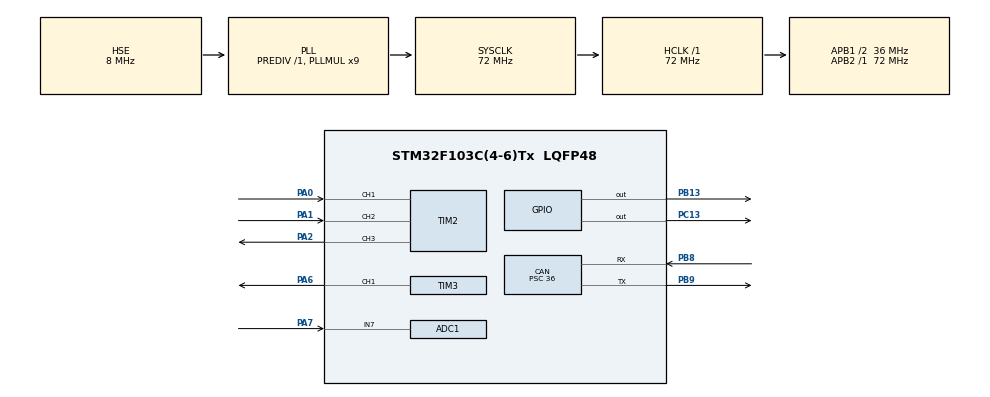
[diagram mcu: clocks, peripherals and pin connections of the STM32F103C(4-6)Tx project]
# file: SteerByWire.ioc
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ADC1.Channel-0\#ChannelRegularConversion=ADC_CHANNEL_7
ADC1.NbrOfConversionFlag=1
ADC1.Rank-0\#ChannelRegularConversion=1
ADC1.SamplingTime-0\#ChannelRegularConversion=ADC_SAMPLETIME_1CYCLE_5
ADC1.master=1
CAN.BS1=CAN_BS1_2TQ
CAN.BS2=CAN_BS2_1TQ
CAN.CalculateBaudRate=250000
CAN.CalculateTimeBit=4000
CAN.CalculateTimeQuantum=1000.0
CAN.Mode=CAN_MODE_NORMAL
CAN.Prescaler=36
Mcu.Family=STM32F1
Mcu.Name=STM32F103C(4-6)Tx
Mcu.Package=LQFP48
NVIC.CAN1_RX1_IRQn=true\:0\:0\:false\:false\:true\:true\:true\:true
NVIC.PriorityGroup=NVIC_PRIORITYGROUP_4
NVIC.USB_LP_CAN1_RX0_IRQn=true\:0\:0\:false\:false\:true\:true\:true\:true
PA0-WKUP.Signal=S_TIM2_CH1_ETR
PA1.Signal=S_TIM2_CH2
PA13.Mode=Serial_Wire
PA13.Signal=SYS_JTMS-SWDIO
PA14.Mode=Serial_Wire
PA14.Signal=SYS_JTCK-SWCLK
PA2.Signal=S_TIM2_CH3
PA6.Signal=S_TIM3_CH1
PA7.Signal=ADCx_IN7
PB13.Signal=GPIO_Output
PB8.GPIO_PuPd=GPIO_NOPULL
PB8.Mode=CAN_Activate
PB8.Signal=CAN_RX
PB9.Mode=CAN_Activate
PB9.Signal=CAN_TX
PC13-TAMPER-RTC.GPIO_ModeDefaultOutputPP=GPIO_MODE_OUTPUT_PP
PC13-TAMPER-RTC.GPIO_PuPd=GPIO_PULLUP
PC13-TAMPER-RTC.GPIO_Speed=GPIO_SPEED_FREQ_MEDIUM
PC13-TAMPER-RTC.PinState=GPIO_PIN_SET
PC13-TAMPER-RTC.Signal=GPIO_Output
PD0-OSC_IN.Mode=HSE-External-Oscillator
PD0-OSC_IN.Signal=RCC_OSC_IN
PD1-OSC_OUT.Mode=HSE-External-Oscillator
PD1-OSC_OUT.Signal=RCC_OSC_OUT
ProjectManager.HeapSize=0x200
ProjectManager.StackSize=0x400
ProjectManager.TargetToolchain=STM32CubeIDE
RCC.ADCPresc=RCC_ADCPCLK2_DIV6
RCC.AHBFreq_Value=72000000
RCC.APB1CLKDivider=RCC_HCLK_DIV2
RCC.APB1Freq_Value=36000000
RCC.APB1TimFreq_Value=72000000
RCC.APB2Freq_Value=72000000
RCC.APB2TimFreq_Value=72000000
RCC.HCLKFreq_Value=72000000
RCC.PLLMUL=RCC_PLL_MUL9
RCC.PLLSourceVirtual=RCC_PLLSOURCE_HSE
RCC.SYSCLKFreq_VALUE=72000000
RCC.SYSCLKSource=RCC_SYSCLKSOURCE_PLLCLK
RCC.USBFreq_Value=72000000
SH.ADCx_IN7.0=ADC1_IN7,IN7
SH.S_TIM2_CH1_ETR.0=TIM2_CH1,Encoder_Interface
SH.S_TIM2_CH2.0=TIM2_CH2,Encoder_Interface
SH.S_TIM2_CH3.0=TIM2_CH3,PWM Generation3 CH3
SH.S_TIM3_CH1.0=TIM3_CH1,PWM Generation1 CH1
TIM2.Channel-PWM\ Generation3\ CH3=TIM_CHANNEL_3
TIM2.EncoderMode=TIM_ENCODERMODE_TI12
TIM3.Channel-PWM\ Generation1\ CH1=TIM_CHANNEL_1
board=custom

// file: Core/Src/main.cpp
/* USER CODE BEGIN Header */
/**
  ******************************************************************************
  * @file           : main.c
  * @brief          : Main program body
  ******************************************************************************
  * @attention
  *
  * Copyright (c) 2025 STMicroelectronics.
  * All rights reserved.
  *
  * This software is licensed under terms that can be found in the LICENSE file
  * in the root directory of this software component.
  * If no LICENSE file comes with this software, it is provided AS-IS.
  *
  ******************************************************************************
  */
/* USER CODE END Header */
#include <main.hpp>
#include "CAN_Bus.hpp"
#include "encoder.hpp"
#include "motorControl.hpp"
#include "CurrentSensor.hpp"
/* USER CODE END Includes */

ADC_HandleTypeDef hadc1;

CAN_HandleTypeDef hcan;

TIM_HandleTypeDef htim2;
TIM_HandleTypeDef htim3;

/* USER CODE BEGIN PV */
CANBus globalCanBus;
float motorCurrent;

CAN_RxHeaderTypeDef RxHeader;  // CAN transmit header
uint8_t RxData[8];
uint32_t can_id;
int received_value;
uint32_t received_value2;

typedef struct {
    uint8_t error_warning_flag;
    uint8_t error_passive_flag;
    uint8_t bus_off_flag;
    uint8_t stuff_error;
    uint8_t form_error;
    uint8_t acknowledgment_error;
    uint8_t bit_recessive_error;
    uint8_t bit_dominant_error;
    uint8_t crc_error;
} CAN_ErrorFlags;
/* USER CODE END PV */

void SystemClock_Config(void);
static void MX_GPIO_Init(void);
static void MX_CAN_Init(void);
static void MX_TIM2_Init(void);
static void MX_ADC1_Init(void);
static void MX_TIM3_Init(void);

/* USER CODE BEGIN 0 */

//This method is used to receive CAN-bus data and store said data in a variable based on the CAN ID of the received message
void HAL_CAN_RxFifo0MsgPendingCallback(CAN_HandleTypeDef *hcan){
	HAL_CAN_GetRxMessage(hcan, CAN_RX_FIFO0, &RxHeader, RxData);
	if (RxHeader.StdId == 446) {
		received_value = globalCanBus.dataMerger(RxData);
		HAL_GPIO_TogglePin(GPIOC, GPIO_PIN_13);
	}
	else if(RxHeader.StdId == 300) {
		received_value2 = globalCanBus.dataMerger(RxData);
	}
	else{
		Error_Handler();
	}

}

//This method can be used to check for and read out CAN bus errors.
void check_CAN_errors(CAN_HandleTypeDef *hcan, CAN_ErrorFlags *error_flags) {
    uint32_t error = HAL_CAN_GetError(hcan);

    // Reset all error flags
    error_flags->error_warning_flag = 0;
    error_flags->error_passive_flag = 0;
    error_flags->bus_off_flag = 0;
    error_flags->stuff_error = 0;
    error_flags->form_error = 0;
    error_flags->acknowledgment_error = 0;
    error_flags->bit_recessive_error = 0;
    error_flags->bit_dominant_error = 0;
    error_flags->crc_error = 0;

    if (error != HAL_CAN_ERROR_NONE) {
        if (error & HAL_CAN_ERROR_EWG) {
            error_flags->error_warning_flag = 1;
        }
        if (error & HAL_CAN_ERROR_EPV) {
            error_flags->error_passive_flag = 1;
        }
        if (error & HAL_CAN_ERROR_BOF) {
            error_flags->bus_off_flag = 1;
        }
        if (error & HAL_CAN_ERROR_STF) {
            error_flags->stuff_error = 1;
        }
        if (error & HAL_CAN_ERROR_FOR) {
            error_flags->form_error = 1;
        }
        if (error & HAL_CAN_ERROR_ACK) {
            error_flags->acknowledgment_error = 1;
        }
        if (error & HAL_CAN_ERROR_BR) {
            error_flags->bit_recessive_error = 1;
        }
        if (error & HAL_CAN_ERROR_BD) {
            error_flags->bit_dominant_error = 1;
        }
        if (error & HAL_CAN_ERROR_CRC) {
            error_flags->crc_error = 1;
        }
    }
}
/* USER CODE END 0 */

int main(void)
{

  /* MCU Configuration--------------------------------------------------------*/

  /* Reset of all peripherals, Initializes the Flash interface and the Systick. */
  HAL_Init();

  /* Configure the system clock */
  SystemClock_Config();

  /* Initialize all configured peripherals */
  MX_GPIO_Init();
  MX_CAN_Init();
  MX_TIM2_Init();
  MX_ADC1_Init();
  MX_TIM3_Init();
  /* USER CODE BEGIN 2 */
  HAL_TIM_Encoder_Start(&htim2, TIM_CHANNEL_ALL);

  //The following values are used for the Current sensor
  float offset = 1.65f; // Voltage at 0 Amps
  float vRef = 3.3f; // Voltage of microcontroller
  float sensitivity = 0.185f;// mV between Amps

  //Initialization of all the classes used.
  CurrentSensor currentSensor(&hadc1, vRef, sensitivity, offset);
  CAN_ErrorFlags error_flags;
  MotorControl motorControl(&htim3, TIM_CHANNEL_1);
  Encoder encoder(&motorControl, &currentSensor, &htim2, &htim2, 65535, 1000);
  //Temporary variables for development and testing ------------------------------*/
  uint8_t canAngle[8];
  uint8_t desiredAngle[8];
  uint32_t counter2 = 9999999;
  //---------------------------------------------------------------------------*/
  globalCanBus.start(&hcan, CAN_ID_STD);
  motorControl.start();

  encoder.calibrateEncoder(&htim2, 1.0f);

    //  canBus.error(&hcan, 2047);
    //  canBus.error(&hcan, 0x38b);
  /* USER CODE END 2 */

  /* Infinite loop */
  /* USER CODE BEGIN WHILE */
  while (1)
  {
	  uint32_t currentCount = encoder.readEncoder(&htim2); //Reads out encoder postition. Swap this function with encoder.encoderCompare to use 2 encoders.
	  int16_t currentAngle = encoder.calculateAngle(currentCount); //Translates raw position to usable angle
	  motorControl.steerToAngle(currentAngle, 0); //Steers to the target angle currently set at 0.

	  globalCanBus.dataSplitter(currentAngle, canAngle); //Used to split data into byte lists for the CANbus messages
	  globalCanBus.dataSplitter(counter2, desiredAngle);

	  globalCanBus.transmit(&hcan, canAngle, 446); //transmits data over the CANbus lines
	  globalCanBus.transmit(&hcan, desiredAngle, 300);
	  HAL_Delay(100);
    /* USER CODE END WHILE */

  }
}

void SystemClock_Config(void)
{
  RCC_OscInitTypeDef RCC_OscInitStruct = {0};
  RCC_ClkInitTypeDef RCC_ClkInitStruct = {0};
  RCC_PeriphCLKInitTypeDef PeriphClkInit = {0};

  /** Initializes the RCC Oscillators according to the specified parameters
  * in the RCC_OscInitTypeDef structure.
  */
  RCC_OscInitStruct.OscillatorType = RCC_OSCILLATORTYPE_HSE;
  RCC_OscInitStruct.HSEState = RCC_HSE_ON;
  RCC_OscInitStruct.HSEPredivValue = RCC_HSE_PREDIV_DIV1;
  RCC_OscInitStruct.HSIState = RCC_HSI_ON;
  RCC_OscInitStruct.PLL.PLLState = RCC_PLL_ON;
  RCC_OscInitStruct.PLL.PLLSource = RCC_PLLSOURCE_HSE;
  RCC_OscInitStruct.PLL.PLLMUL = RCC_PLL_MUL9;
  if (HAL_RCC_OscConfig(&RCC_OscInitStruct) != HAL_OK)
  {
    Error_Handler();
  }

  /** Initializes the CPU, AHB and APB buses clocks
  */
  RCC_ClkInitStruct.ClockType = RCC_CLOCKTYPE_HCLK|RCC_CLOCKTYPE_SYSCLK
                              |RCC_CLOCKTYPE_PCLK1|RCC_CLOCKTYPE_PCLK2;
  RCC_ClkInitStruct.SYSCLKSource = RCC_SYSCLKSOURCE_PLLCLK;
  RCC_ClkInitStruct.AHBCLKDivider = RCC_SYSCLK_DIV1;
  RCC_ClkInitStruct.APB1CLKDivider = RCC_HCLK_DIV2;
  RCC_ClkInitStruct.APB2CLKDivider = RCC_HCLK_DIV1;

  if (HAL_RCC_ClockConfig(&RCC_ClkInitStruct, FLASH_LATENCY_2) != HAL_OK)
  {
    Error_Handler();
  }
  PeriphClkInit.PeriphClockSelection = RCC_PERIPHCLK_ADC;
  PeriphClkInit.AdcClockSelection = RCC_ADCPCLK2_DIV6;
  if (HAL_RCCEx_PeriphCLKConfig(&PeriphClkInit) != HAL_OK)
  {
    Error_Handler();
  }
}

static void MX_ADC1_Init(void)
{

  ADC_ChannelConfTypeDef sConfig = {0};

  /** Common config
  */
  hadc1.Instance = ADC1;
  hadc1.Init.ScanConvMode = ADC_SCAN_DISABLE;
  hadc1.Init.ContinuousConvMode = ENABLE;
  hadc1.Init.DiscontinuousConvMode = DISABLE;
  hadc1.Init.ExternalTrigConv = ADC_SOFTWARE_START;
  hadc1.Init.DataAlign = ADC_DATAALIGN_RIGHT;
  hadc1.Init.NbrOfConversion = 1;
  if (HAL_ADC_Init(&hadc1) != HAL_OK)
  {
    Error_Handler();
  }

  /** Configure Regular Channel
  */
  sConfig.Channel = ADC_CHANNEL_7;
  sConfig.Rank = ADC_REGULAR_RANK_1;
  sConfig.SamplingTime = ADC_SAMPLETIME_1CYCLE_5;
  if (HAL_ADC_ConfigChannel(&hadc1, &sConfig) != HAL_OK)
  {
    Error_Handler();
  }

}

static void MX_CAN_Init(void)
{

  hcan.Instance = CAN1;
  hcan.Init.Prescaler = 36;
  hcan.Init.Mode = CAN_MODE_LOOPBACK;
  hcan.Init.SyncJumpWidth = CAN_SJW_1TQ;
  hcan.Init.TimeSeg1 = CAN_BS1_2TQ;
  hcan.Init.TimeSeg2 = CAN_BS2_1TQ;
  hcan.Init.TimeTriggeredMode = DISABLE;
  hcan.Init.AutoBusOff = DISABLE;
  hcan.Init.AutoWakeUp = DISABLE;
  hcan.Init.AutoRetransmission = DISABLE;
  hcan.Init.ReceiveFifoLocked = DISABLE;
  hcan.Init.TransmitFifoPriority = DISABLE;
  if (HAL_CAN_Init(&hcan) != HAL_OK)
  {
    Error_Handler();
  }
  /* USER CODE BEGIN CAN_Init 2 */
  globalCanBus.configureFilter(&hcan, 0b00100010000, 0b00110110000, 10, 0);

  /* USER CODE END CAN_Init 2 */

}

static void MX_TIM2_Init(void)
{

  TIM_Encoder_InitTypeDef sConfig = {0};
  TIM_MasterConfigTypeDef sMasterConfig = {0};
  TIM_OC_InitTypeDef sConfigOC = {0};

  htim2.Instance = TIM2;
  htim2.Init.Prescaler = 0;
  htim2.Init.CounterMode = TIM_COUNTERMODE_UP;
  htim2.Init.Period = 65535;
  htim2.Init.ClockDivision = TIM_CLOCKDIVISION_DIV1;
  htim2.Init.AutoReloadPreload = TIM_AUTORELOAD_PRELOAD_DISABLE;
  if (HAL_TIM_PWM_Init(&htim2) != HAL_OK)
  {
    Error_Handler();
  }
  sConfig.EncoderMode = TIM_ENCODERMODE_TI12;
  sConfig.IC1Polarity = TIM_ICPOLARITY_RISING;
  sConfig.IC1Selection = TIM_ICSELECTION_DIRECTTI;
  sConfig.IC1Prescaler = TIM_ICPSC_DIV1;
  sConfig.IC1Filter = 0;
  sConfig.IC2Polarity = TIM_ICPOLARITY_RISING;
  sConfig.IC2Selection = TIM_ICSELECTION_DIRECTTI;
  sConfig.IC2Prescaler = TIM_ICPSC_DIV1;
  sConfig.IC2Filter = 0;
  if (HAL_TIM_Encoder_Init(&htim2, &sConfig) != HAL_OK)
  {
    Error_Handler();
  }
  sMasterConfig.MasterOutputTrigger = TIM_TRGO_RESET;
  sMasterConfig.MasterSlaveMode = TIM_MASTERSLAVEMODE_DISABLE;
  if (HAL_TIMEx_MasterConfigSynchronization(&htim2, &sMasterConfig) != HAL_OK)
  {
    Error_Handler();
  }
  sConfigOC.OCMode = TIM_OCMODE_PWM1;
  sConfigOC.Pulse = 0;
  sConfigOC.OCPolarity = TIM_OCPOLARITY_HIGH;
  sConfigOC.OCFastMode = TIM_OCFAST_DISABLE;
  if (HAL_TIM_PWM_ConfigChannel(&htim2, &sConfigOC, TIM_CHANNEL_3) != HAL_OK)
  {
    Error_Handler();
  }
  HAL_TIM_MspPostInit(&htim2);

}

static void MX_TIM3_Init(void)
{

  TIM_MasterConfigTypeDef sMasterConfig = {0};
  TIM_OC_InitTypeDef sConfigOC = {0};

  htim3.Instance = TIM3;
  htim3.Init.Prescaler = 0;
  htim3.Init.CounterMode = TIM_COUNTERMODE_UP;
  htim3.Init.Period = 65535;
  htim3.Init.ClockDivision = TIM_CLOCKDIVISION_DIV1;
  htim3.Init.AutoReloadPreload = TIM_AUTORELOAD_PRELOAD_DISABLE;
  if (HAL_TIM_PWM_Init(&htim3) != HAL_OK)
  {
    Error_Handler();
  }
  sMasterConfig.MasterOutputTrigger = TIM_TRGO_RESET;
  sMasterConfig.MasterSlaveMode = TIM_MASTERSLAVEMODE_DISABLE;
  if (HAL_TIMEx_MasterConfigSynchronization(&htim3, &sMasterConfig) != HAL_OK)
  {
    Error_Handler();
  }
  sConfigOC.OCMode = TIM_OCMODE_PWM1;
  sConfigOC.Pulse = 0;
  sConfigOC.OCPolarity = TIM_OCPOLARITY_HIGH;
  sConfigOC.OCFastMode = TIM_OCFAST_DISABLE;
  if (HAL_TIM_PWM_ConfigChannel(&htim3, &sConfigOC, TIM_CHANNEL_1) != HAL_OK)
  {
    Error_Handler();
  }
  HAL_TIM_MspPostInit(&htim3);

}

static void MX_GPIO_Init(void)
{
  GPIO_InitTypeDef GPIO_InitStruct = {0};

  /* GPIO Ports Clock Enable */
  __HAL_RCC_GPIOC_CLK_ENABLE();
  __HAL_RCC_GPIOD_CLK_ENABLE();
  __HAL_RCC_GPIOA_CLK_ENABLE();
  __HAL_RCC_GPIOB_CLK_ENABLE();

  /*Configure GPIO pin Output Level */
  HAL_GPIO_WritePin(GPIOC, GPIO_PIN_13, GPIO_PIN_SET);

  /*Configure GPIO pin Output Level */
  HAL_GPIO_WritePin(GPIOB, GPIO_PIN_13, GPIO_PIN_RESET);

  /*Configure GPIO pin : PC13 */
  GPIO_InitStruct.Pin = GPIO_PIN_13;
  GPIO_InitStruct.Mode = GPIO_MODE_OUTPUT_PP;
  GPIO_InitStruct.Pull = GPIO_PULLUP;
  GPIO_InitStruct.Speed = GPIO_SPEED_FREQ_MEDIUM;
  HAL_GPIO_Init(GPIOC, &GPIO_InitStruct);

  /*Configure GPIO pin : PB13 */
  GPIO_InitStruct.Pin = GPIO_PIN_13;
  GPIO_InitStruct.Mode = GPIO_MODE_OUTPUT_PP;
  GPIO_InitStruct.Pull = GPIO_NOPULL;
  GPIO_InitStruct.Speed = GPIO_SPEED_FREQ_LOW;
  HAL_GPIO_Init(GPIOB, &GPIO_InitStruct);

}

void Error_Handler(void)
{
  __disable_irq();
  while (1)
  {
  }
}
